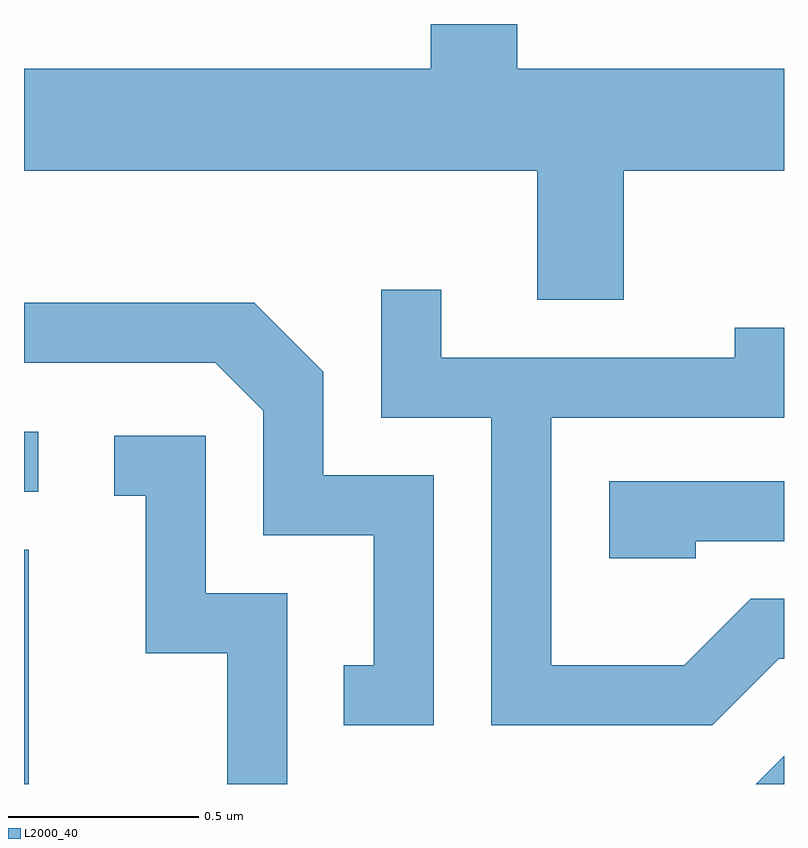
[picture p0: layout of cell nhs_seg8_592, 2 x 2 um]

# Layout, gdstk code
import gdstk
lib = gdstk.Library(unit=1e-6, precision=1e-09)
def R(c, l, rs):  # rectangles x0, y0, x1, y1
    for r in rs: c.add(gdstk.rectangle(r[:2], r[2:], *l))
def P(c, l, *ps):  # polygons
    for p in ps: c.add(gdstk.Polygon(p, *l))
L2000_40 = (2000, 40)

nhs_seg8_592 = lib.new_cell('nhs_seg8_592')
R(nhs_seg8_592, L2000_40, [(189.611,1850.342,189.624,1850.959), (189.611,1851.111,189.648,1851.269)])
P(nhs_seg8_592, L2000_40, [(191.189,1851.956),(191.611,1851.956),(191.611,1852.224),(190.909,1852.224),(190.909,1852.342),(190.681,1852.342),(190.681,1852.224),(189.611,1852.224),(189.611,1851.956),(190.961,1851.956),(190.961,1851.616),(191.189,1851.616)],
  [(191.597,1850.671),(191.611,1850.671),(191.611,1850.829),(191.524,1850.829),(191.349,1850.654),(190.999,1850.654),(190.999,1851.306),(191.611,1851.306),(191.611,1851.543),(191.481,1851.543),(191.481,1851.464),(190.709,1851.464),(190.709,1851.643),(190.551,1851.643),(190.551,1851.306),(190.841,1851.306),(190.841,1850.496),(191.422,1850.496)],
  [(190.689,1851.154),(190.399,1851.154),(190.399,1851.427),(190.217,1851.609),(189.611,1851.609),(189.611,1851.451),(190.114,1851.451),(190.241,1851.324),(190.241,1850.996),(190.531,1850.996),(190.531,1850.654),(190.453,1850.654),(190.453,1850.496),(190.689,1850.496)],
  [(190.304,1850.844),(190.089,1850.844),(190.089,1851.259),(189.848,1851.259),(189.848,1851.101),(189.931,1851.101),(189.931,1850.686),(190.146,1850.686),(190.146,1850.342),(190.304,1850.342)],
  [(191.379,1850.981),(191.611,1850.981),(191.611,1851.139),(191.151,1851.139),(191.151,1850.936),(191.379,1850.936)],
  [(191.611,1850.416),(191.537,1850.342),(191.611,1850.342)])

lib.write_gds('nhs_seg8_592.gds')
